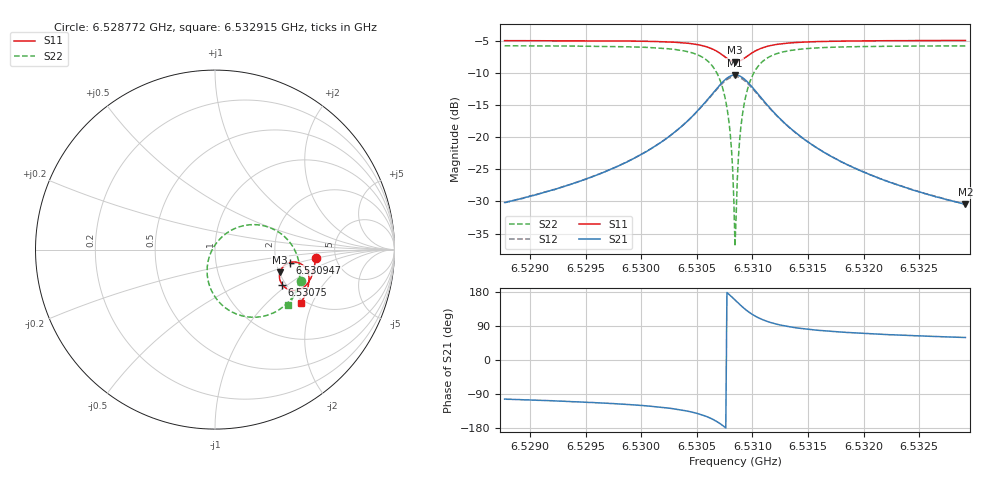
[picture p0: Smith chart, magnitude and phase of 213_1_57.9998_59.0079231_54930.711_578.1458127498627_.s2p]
#  HZ  S  RI  R  50.00
! Rohde & Schwarz Vector Network Analyzer
! Rohde-Schwarz,ZNB20-2Port,1311601062101988,3.16
! Created: UTC 3/21/2024, 12:59:49 AM
! freq[Hz]  re:S11  im:S11  re:S21  im:S21  re:S12  im:S12  re:S22  im:S22
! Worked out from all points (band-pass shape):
!   401 points, 6.528772 GHz to 6.532915 GHz, reference 50 ohm
!   highest |S21| = -10.32 dB at 6.530844 GHz (marker M1); lowest = -30.5 dB at 6.532915 GHz (marker M2)
!   |S21| within 3 dB of the highest: 6.530637 GHz to 6.531052 GHz (415 kHz wide, 0.00635 % of centre)
!   lowest |S11| = -8.3 dB at 6.530844 GHz (marker M3), VSWR 2.24, Z = 101 - j29.9 ohm
!   |S11| at or under -10 dB: nowhere
!   |S22| runs from -37.0 to -5.8 dB; largest |S21 - S12| = 0.012
!   S11 on the Smith chart (normalised r, x): 6.528772 GHz: 3.49, -0.50; 6.53075 GHz: 1.91, -0.91; 6.530947 GHz: 2.37, -0.42; 6.532915 GHz: 1.91, -1.66
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6.5287724e9  0.5604 -0.0493  -0.00708 -0.0302  -0.00772 -0.03  0.4818 -0.1753
6.5294662e9  0.551 -0.1072  -0.0165 -0.043  -0.0175 -0.0426  0.4504 -0.2387
6.5301601e9  0.5241 -0.1764  -0.0499 -0.0737  -0.0521 -0.0722  0.368 -0.3277
6.5303983e9  0.4977 -0.2069  -0.0895 -0.093  -0.0922 -0.0899  0.2875 -0.3666
6.5305743e9  0.4544 -0.2268  -0.1571 -0.0995  -0.1594 -0.093  0.1622 -0.3717
6.5306779e9  0.4098 -0.2223  -0.2263 -0.0732  -0.2255 -0.0636  0.0462 -0.3149
6.5307504e9  0.3748 -0.1955  -0.277 -0.015  -0.2713 -0.00499  -0.0284 -0.2077
6.5307918e9  0.3615 -0.1681  -0.2927 0.0375  -0.2839 0.0456  -0.0441 -0.1177
6.5308125e9  0.3592 -0.1517  -0.2933 0.0672  -0.2833 0.0737  -0.0392 -0.0687
6.5308332e9  0.3602 -0.1348  -0.288 0.0974  -0.2772 0.1022  -0.0247 -0.0205
6.5308436e9  0.362 -0.1265  -0.2832 0.1123  -0.2722 0.1159  -0.014 0.00261
6.5308539e9  0.3648 -0.1185  -0.2768 0.1264  -0.2658 0.1289  -0.000811 0.0245
6.5308643e9  0.3684 -0.1108  -0.269 0.1398  -0.2583 0.1414  0.0144 0.0448
6.530885e9  0.3777 -0.097  -0.2504 0.1635  -0.2399 0.1636  0.0496 0.0802
6.5308954e9  0.3833 -0.0909  -0.2394 0.1738  -0.2296 0.173  0.0692 0.0947
6.5309161e9  0.3959 -0.0812  -0.2161 0.1903  -0.2074 0.1884  0.1104 0.1176
6.5309472e9  0.416 -0.0723  -0.1796 0.2058  -0.1728 0.2027  0.1734 0.136
6.5310196e9  0.4586 -0.0716  -0.105 0.2078  -0.1014 0.205  0.299 0.1247
6.5311232e9  0.4962 -0.0932  -0.0405 0.1774  -0.0386 0.1757  0.4025 0.0572
6.5315375e9  0.5238 -0.1724  0.0154 0.0858  0.0164 0.0855  0.4725 -0.1346
6.5322313e9  0.5062 -0.244  0.0175 0.0411  0.0183 0.0409  0.4433 -0.2501
6.5329148e9  0.4807 -0.2958  0.0152 0.0258  0.0159 0.0255  0.4079 -0.3098
